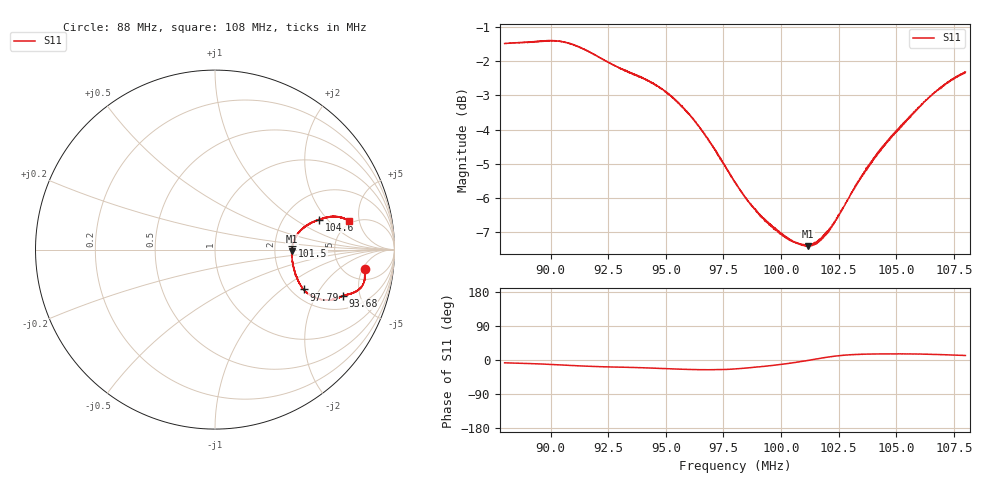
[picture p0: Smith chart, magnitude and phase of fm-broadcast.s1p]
! Calibrated averaged scanner-service zoom
# Hz S RI R 50
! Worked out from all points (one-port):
!   2001 points, 88 MHz to 108 MHz, reference 50 ohm
!   lowest |S11| = -7.4 dB at 101.2 MHz (marker M1), VSWR 2.49, Z = 124 - j2.81 ohm
!   |S11| at or under -10 dB: nowhere
!   S11 on the Smith chart (normalised r, x): 88 MHz: 7.44, -5.59; 93.68 MHz: 2.84, -3.45; 97.79 MHz: 2.31, -1.45; 101.5 MHz: 2.51, +0.13; 104.6 MHz: 3.12, +1.65; 108 MHz: 4.71, +3.58
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8.8e7  0.8353 -0.1092
8.943e7  0.8352 -0.1498
8.998e7  0.8335 -0.1707
9.05e7  0.8251 -0.1938
9.098e7  0.8119 -0.2143
9.167e7  0.7855 -0.2339
9.226e7  0.7608 -0.2449
9.3e7  0.7329 -0.2514
9.368e7  0.7119 -0.2592
9.456e7  0.681 -0.2705
9.55e7  0.6319 -0.2816
9.61e7  0.5971 -0.279
9.663e7  0.5643 -0.2699
9.724e7  0.5266 -0.2492
9.779e7  0.4935 -0.2222
9.8e7  0.4849 -0.2127
9.911e7  0.4506 -0.1438
1.005e8  0.43 -0.0581
1.0117e8  0.4265 -0.00925
1.0154e8  0.431 0.0203
1.0224e8  0.4511 0.0754
1.03e8  0.491 0.1221
1.0365e8  0.5297 0.1474
1.046e8  0.5822 0.1676
1.055e8  0.6302 0.1791
1.0658e8  0.687 0.1835
1.0738e8  0.726 0.1711
1.08e8  0.7488 0.1575
